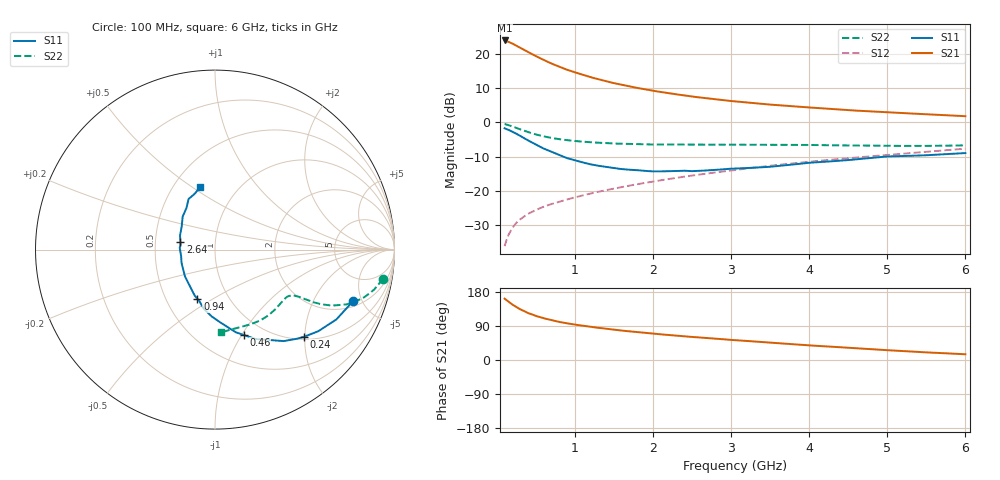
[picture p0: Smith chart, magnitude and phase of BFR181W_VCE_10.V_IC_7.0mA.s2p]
! Infineon Technologies  Discrete & RF Semiconductors
! BFR181W
! VCE =  10. V,  IC =  7.0 mA
! Common Emitter S-Parameters:  Nov 2015
# GHz  S  MA  R  50
!  f  S11  S21  S12  S22
! GHz  MAG  ANG  MAG  ANG  MAG  ANG  MAG  ANG
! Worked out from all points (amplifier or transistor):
!   192 points, 100 MHz to 6 GHz, reference 50 ohm
!   highest |S21| = 24.0 dB at 100 MHz (marker M1)
!   |S21| within 3 dB of that: start of sweep to 369.4 MHz
!   unconditionally stable (mu >= 1): 1.405 GHz to 3.2 GHz
!   at 440 MHz: K = 0.57, MSG = 23.2 dB, |S12| = -26.3 dB
!   at 1.7 GHz: K = 1.03, MAG = 13.4 dB, |S12| = -18.5 dB
!   at 6 GHz: K = 0.82, MSG = 4.8 dB, |S12| = -7.7 dB
!   S11 on the Smith chart (normalised r, x): 100 MHz: 2.41, -4.25; 240 MHz: 1.06, -1.98; 460 MHz: 0.80, -1.02; 940 MHz: 0.71, -0.43; 2.64 GHz: 0.67, +0.06; 6 GHz: 0.67, +0.53
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0.1  0.8218 -20.4  15.81 161.9  0.0155 78.0  0.9495 -9.9
0.15  0.7802 -29.9  15.09 153.6  0.0227 74.3  0.9145 -14.1
0.2  0.7336 -38.3  14.22 146.2  0.0286 71.0  0.8743 -17.6
0.24  0.6936 -44.5  13.48 141.0  0.0329 68.5  0.8398 -19.9
0.3  0.6374 -53.1  12.37 133.8  0.0383 66.0  0.7924 -22.7
0.4  0.5468 -65.6  10.72 123.8  0.046 63.1  0.7217 -25.6
0.46  0.5021 -71.4  9.865 119.6  0.0498 62.2  0.6885 -26.5
0.5  0.4755 -75.8  9.327 116.3  0.0523 61.7  0.6664 -27.2
0.6  0.4149 -84.5  8.194 110.1  0.0586 61.3  0.6246 -28.1
0.7  0.3725 -92.9  7.258 104.9  0.064 61.3  0.5927 -28.5
0.8  0.3351 -100.7  6.528 100.5  0.0692 61.6  0.5684 -28.9
0.94  0.2917 -109.6  5.69 95.4  0.0769 62.2  0.5439 -29.2
1.1  0.2603 -119.5  4.982 90.6  0.0856 63.0  0.5235 -29.7
1.2  0.2438 -126.0  4.583 87.4  0.0912 63.4  0.5119 -30.1
1.5  0.2153 -143.5  3.754 79.9  0.1078 64.3  0.4915 -31.5
1.8  0.2004 -158.7  3.194 73.5  0.1251 65.0  0.4799 -33.2
2.08  0.1923 -171.5  2.81 68.1  0.1415 65.2  0.4751 -35.4
2.64  0.1972 168.0  2.291 58.8  0.1756 64.9  0.472 -40.5
3.1  0.2127 155.2  2.008 51.7  0.2049 64.2  0.4723 -45.7
4.1  0.2613 132.3  1.626 37.3  0.2727 60.6  0.4663 -58.9
5.1  0.3202 116.0  1.39 24.8  0.3416 56.1  0.454 -73.1
6  0.3565 103.9  1.234 15.1  0.4133 51.8  0.4624 -85.6
